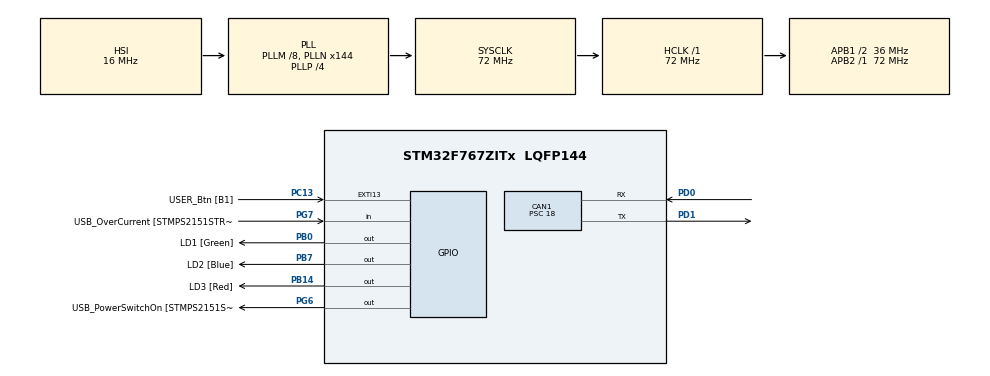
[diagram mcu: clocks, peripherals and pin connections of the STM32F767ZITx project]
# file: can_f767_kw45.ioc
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CAN1.BS1=CAN_BS1_2TQ
CAN1.CalculateBaudRate=500000
CAN1.CalculateTimeBit=2000
CAN1.CalculateTimeQuantum=500.0
CAN1.Prescaler=18
Mcu.Family=STM32F7
Mcu.Name=STM32F767ZITx
Mcu.Package=LQFP144
NVIC.CAN1_RX0_IRQn=true\:0\:0\:false\:false\:true\:true\:true\:true
NVIC.PriorityGroup=NVIC_PRIORITYGROUP_4
PA1.GPIO_Label=RMII_REF_CLK [LAN8742A-CZ-TR_REFCLK0]
PA1.Signal=ETH_REF_CLK
PA10.GPIO_Label=USB_ID
PA10.Signal=USB_OTG_FS_ID
PA11.GPIO_Label=USB_DM
PA11.Signal=USB_OTG_FS_DM
PA12.GPIO_Label=USB_DP
PA12.Signal=USB_OTG_FS_DP
PA13.GPIO_Label=TMS
PA13.Signal=SYS_JTMS-SWDIO
PA14.GPIO_Label=TCK
PA14.Signal=SYS_JTCK-SWCLK
PA2.GPIO_Label=RMII_MDIO [LAN8742A-CZ-TR_MDIO]
PA2.Signal=ETH_MDIO
PA7.GPIO_Label=RMII_CRS_DV [LAN8742A-CZ-TR_CRS_DV]
PA7.Signal=ETH_CRS_DV
PA8.GPIO_Label=USB_SOF [TP1]
PA8.Signal=USB_OTG_FS_SOF
PA9.GPIO_Label=USB_VBUS
PA9.Signal=USB_OTG_FS_VBUS
PB0.GPIO_Label=LD1 [Green]
PB0.Signal=GPIO_Output
PB13.GPIO_Label=RMII_TXD1 [LAN8742A-CZ-TR_TXD1]
PB13.Signal=ETH_TXD1
PB14.GPIO_Label=LD3 [Red]
PB14.Signal=GPIO_Output
PB3.GPIO_Label=SW0
PB3.Signal=SYS_JTDO-SWO
PB7.GPIO_Label=LD2 [Blue]
PB7.Signal=GPIO_Output
PC1.GPIO_Label=RMII_MDC [LAN8742A-CZ-TR_MDC]
PC1.Signal=ETH_MDC
PC13.GPIO_Label=USER_Btn [B1]
PC13.Signal=GPXTI13
PC14/OSC32_IN.Signal=RCC_OSC32_IN
PC15/OSC32_OUT.Signal=RCC_OSC32_OUT
PC4.GPIO_Label=RMII_RXD0 [LAN8742A-CZ-TR_RXD0]
PC4.Signal=ETH_RXD0
PC5.GPIO_Label=RMII_RXD1 [LAN8742A-CZ-TR_RXD1]
PC5.Signal=ETH_RXD1
PD0.Mode=CAN_Activate
PD0.Signal=CAN1_RX
PD1.Mode=CAN_Activate
PD1.Signal=CAN1_TX
PD8.GPIO_Label=STLK_RX [STM32F103CBT6_PA3]
PD8.Signal=USART3_TX
PD9.GPIO_Label=STLK_TX [STM32F103CBT6_PA2]
PD9.Signal=USART3_RX
PG11.GPIO_Label=RMII_TX_EN [LAN8742A-CZ-TR_TXEN]
PG11.Signal=ETH_TX_EN
PG13.GPIO_Label=RMII_TXD0 [LAN8742A-CZ-TR_TXD0]
PG13.Signal=ETH_TXD0
PG6.GPIO_Label=USB_PowerSwitchOn [STMPS2151STR_EN]
PG6.Signal=GPIO_Output
PG7.GPIO_Label=USB_OverCurrent [STMPS2151STR_FAULT]
PG7.Signal=GPIO_Input
PH0/OSC_IN.GPIO_Label=MCO [STM32F103CBT6_PA8]
PH0/OSC_IN.Mode=HSE-External-Oscillator
PH0/OSC_IN.Signal=RCC_OSC_IN
PH1/OSC_OUT.Mode=HSE-External-Oscillator
PH1/OSC_OUT.Signal=RCC_OSC_OUT
ProjectManager.HeapSize=0x200
ProjectManager.StackSize=0x400
ProjectManager.TargetToolchain=STM32CubeIDE
RCC.48MHZClocksFreq_Value=24000000
RCC.AHBFreq_Value=72000000
RCC.APB1CLKDivider=RCC_HCLK_DIV2
RCC.APB1Freq_Value=36000000
RCC.APB1TimFreq_Value=72000000
RCC.APB2Freq_Value=72000000
RCC.APB2TimFreq_Value=72000000
RCC.CortexFreq_Value=72000000
RCC.HCLKFreq_Value=72000000
RCC.HSE_VALUE=16000000
RCC.HSI_VALUE=16000000
RCC.LSE_VALUE=32768
RCC.PLLM=8
RCC.PLLMUL=RCC_PLL_MUL9
RCC.PLLN=144
RCC.PLLP=RCC_PLLP_DIV4
RCC.PRESCALERUSB=RCC_USBCLKSOURCE_PLL_DIV1_5
RCC.SYSCLKFreq_VALUE=72000000
RCC.SYSCLKSource=RCC_SYSCLKSOURCE_PLLCLK
RCC.SYSCLKSourceVirtual=RCC_SYSCLKSOURCE_PLLCLK
RCC.USBFreq_Value=144000000
RCC.VCOOutputFreq_Value=288000000
board=NUCLEO-F767ZI

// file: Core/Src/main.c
/* USER CODE BEGIN Header */
/**
  ******************************************************************************
  * @file           : main.c
  * @brief          : Main program body
  ******************************************************************************
  * @attention
  *
  * Copyright (c) 2024 STMicroelectronics.
  * All rights reserved.
  *
  * This software is licensed under terms that can be found in the LICENSE file
  * in the root directory of this software component.
  * If no LICENSE file comes with this software, it is provided AS-IS.
  *
  ******************************************************************************
  */
/* USER CODE END Header */
#include "main.h"

CAN_HandleTypeDef hcan1;

void SystemClock_Config(void);
static void MX_GPIO_Init(void);
static void MX_CAN1_Init(void);

/* USER CODE BEGIN 0 */
CAN_TxHeaderTypeDef TxHeader;
CAN_RxHeaderTypeDef RxHeader;

uint8_t TxData[8];
uint8_t RxData[8];

uint32_t TxMailbox;
int16_t irq_cooldown = 0;

int reply_received = 0;

void HAL_GPIO_EXTI_Callback(uint16_t GPIO_Pin) {

	if (GPIO_Pin == GPIO_PIN_13 && irq_cooldown == 0){
		//TxData[0] = 100;   // ms Delay
		//TxData[1] = 10;    // loop rep

		//TxData[0] = 0b0000100;
		//TxData[1] = 0b0000100;
		HAL_GPIO_TogglePin(GPIOB, GPIO_PIN_14);
		HAL_CAN_AddTxMessage(&hcan1, &TxHeader, TxData, &TxMailbox);
		irq_cooldown = 20000;
	}
}

void HAL_CAN_RxFifo0MsgPendingCallback(CAN_HandleTypeDef *hcan)
{
	HAL_CAN_GetRxMessage(hcan, CAN_RX_FIFO0, &RxHeader, RxData);
	if (RxHeader.DLC == 2)
	{
		reply_received = 1;
		HAL_GPIO_TogglePin(GPIOB, GPIO_PIN_0);

	}

	//HAL_CAN_AddTxMessage(&hcan1, &TxHeader, TxData, &TxMailbox);
}

/* USER CODE END 0 */

int main(void)
{

  /* MCU Configuration--------------------------------------------------------*/

  /* Reset of all peripherals, Initializes the Flash interface and the Systick. */
  HAL_Init();

  /* Configure the system clock */
  SystemClock_Config();

  /* Initialize all configured peripherals */
  MX_GPIO_Init();
  MX_CAN1_Init();
  /* USER CODE BEGIN 2 */

  HAL_CAN_Start(&hcan1);
  HAL_CAN_ActivateNotification(&hcan1, CAN_IT_RX_FIFO0_MSG_PENDING);

  TxHeader.DLC = 2;  // data length
  TxHeader.IDE = CAN_ID_STD;
  TxHeader.RTR = CAN_RTR_DATA;
  TxHeader.StdId = 0x321;  // ID

  TxData[0] = 100;
  TxData[1] = 3;

  /* USER CODE END 2 */

  /* Infinite loop */
  /* USER CODE BEGIN WHILE */
  while (1)
  {
	if (irq_cooldown > 0){
		irq_cooldown -= 1;
	}

	HAL_Delay(3000);
	HAL_GPIO_WritePin(GPIOB, GPIO_PIN_14, GPIO_PIN_SET);
	HAL_CAN_AddTxMessage(&hcan1, &TxHeader, TxData, &TxMailbox);
	HAL_Delay(50);
	HAL_GPIO_WritePin(GPIOB, GPIO_PIN_14, GPIO_PIN_RESET);

    /* USER CODE END WHILE */

  }
}

void SystemClock_Config(void)
{
  RCC_OscInitTypeDef RCC_OscInitStruct = {0};
  RCC_ClkInitTypeDef RCC_ClkInitStruct = {0};

  /** Configure the main internal regulator output voltage
  */
  __HAL_RCC_PWR_CLK_ENABLE();
  __HAL_PWR_VOLTAGESCALING_CONFIG(PWR_REGULATOR_VOLTAGE_SCALE3);

  /** Initializes the RCC Oscillators according to the specified parameters
  * in the RCC_OscInitTypeDef structure.
  */
  RCC_OscInitStruct.OscillatorType = RCC_OSCILLATORTYPE_HSI;
  RCC_OscInitStruct.HSIState = RCC_HSI_ON;
  RCC_OscInitStruct.HSICalibrationValue = RCC_HSICALIBRATION_DEFAULT;
  RCC_OscInitStruct.PLL.PLLState = RCC_PLL_ON;
  RCC_OscInitStruct.PLL.PLLSource = RCC_PLLSOURCE_HSI;
  RCC_OscInitStruct.PLL.PLLM = 8;
  RCC_OscInitStruct.PLL.PLLN = 144;
  RCC_OscInitStruct.PLL.PLLP = RCC_PLLP_DIV4;
  RCC_OscInitStruct.PLL.PLLQ = 2;
  RCC_OscInitStruct.PLL.PLLR = 2;
  if (HAL_RCC_OscConfig(&RCC_OscInitStruct) != HAL_OK)
  {
    Error_Handler();
  }

  /** Initializes the CPU, AHB and APB buses clocks
  */
  RCC_ClkInitStruct.ClockType = RCC_CLOCKTYPE_HCLK|RCC_CLOCKTYPE_SYSCLK
                              |RCC_CLOCKTYPE_PCLK1|RCC_CLOCKTYPE_PCLK2;
  RCC_ClkInitStruct.SYSCLKSource = RCC_SYSCLKSOURCE_PLLCLK;
  RCC_ClkInitStruct.AHBCLKDivider = RCC_SYSCLK_DIV1;
  RCC_ClkInitStruct.APB1CLKDivider = RCC_HCLK_DIV2;
  RCC_ClkInitStruct.APB2CLKDivider = RCC_HCLK_DIV1;

  if (HAL_RCC_ClockConfig(&RCC_ClkInitStruct, FLASH_LATENCY_2) != HAL_OK)
  {
    Error_Handler();
  }
}

static void MX_CAN1_Init(void)
{

  hcan1.Instance = CAN1;
  hcan1.Init.Prescaler = 18;
  hcan1.Init.Mode = CAN_MODE_NORMAL;
  hcan1.Init.SyncJumpWidth = CAN_SJW_1TQ;
  hcan1.Init.TimeSeg1 = CAN_BS1_2TQ;
  hcan1.Init.TimeSeg2 = CAN_BS2_1TQ;
  hcan1.Init.TimeTriggeredMode = DISABLE;
  hcan1.Init.AutoBusOff = DISABLE;
  hcan1.Init.AutoWakeUp = DISABLE;
  hcan1.Init.AutoRetransmission = DISABLE;
  hcan1.Init.ReceiveFifoLocked = DISABLE;
  hcan1.Init.TransmitFifoPriority = DISABLE;
  if (HAL_CAN_Init(&hcan1) != HAL_OK)
  {
    Error_Handler();
  }
  /* USER CODE BEGIN CAN1_Init 2 */
  CAN_FilterTypeDef canfilterconfig;
  canfilterconfig.FilterActivation = CAN_FILTER_ENABLE;
  canfilterconfig.FilterBank = 18;  // which filter bank to use from the assigned ones
  canfilterconfig.FilterFIFOAssignment = CAN_FILTER_FIFO0;
  canfilterconfig.FilterIdHigh = 0x45<<5;
  canfilterconfig.FilterIdLow = 0;
  canfilterconfig.FilterMaskIdHigh = 0x45<<5;
  canfilterconfig.FilterMaskIdLow = 0x0000;
  canfilterconfig.FilterMode = CAN_FILTERMODE_IDMASK;
  canfilterconfig.FilterScale = CAN_FILTERSCALE_32BIT;
  canfilterconfig.SlaveStartFilterBank = 20;  // how many filters to assign to the CAN1 (master can)
  HAL_CAN_ConfigFilter(&hcan1, &canfilterconfig);

  CAN_FilterTypeDef canfilterconfig2;
  canfilterconfig2.FilterActivation = CAN_FILTER_ENABLE;
  canfilterconfig2.FilterBank = 19;  // which filter bank to use from the assigned ones
  canfilterconfig2.FilterFIFOAssignment = CAN_FILTER_FIFO0;
  canfilterconfig2.FilterIdHigh = 0x103<<5;
  canfilterconfig2.FilterIdLow = 0;
  canfilterconfig2.FilterMaskIdHigh = 0x103<<5;
  canfilterconfig2.FilterMaskIdLow = 0x0000;
  canfilterconfig2.FilterMode = CAN_FILTERMODE_IDMASK;
  canfilterconfig2.FilterScale = CAN_FILTERSCALE_32BIT;
  canfilterconfig2.SlaveStartFilterBank = 20;  // how many filters to assign to the CAN1 (master can)
  HAL_CAN_ConfigFilter(&hcan1, &canfilterconfig2);

  /* USER CODE END CAN1_Init 2 */

}

static void MX_GPIO_Init(void)
{
  GPIO_InitTypeDef GPIO_InitStruct = {0};

  /* GPIO Ports Clock Enable */
  __HAL_RCC_GPIOC_CLK_ENABLE();
  __HAL_RCC_GPIOH_CLK_ENABLE();
  __HAL_RCC_GPIOA_CLK_ENABLE();
  __HAL_RCC_GPIOB_CLK_ENABLE();
  __HAL_RCC_GPIOD_CLK_ENABLE();
  __HAL_RCC_GPIOG_CLK_ENABLE();

  /*Configure GPIO pin Output Level */
  HAL_GPIO_WritePin(GPIOB, LD1_Pin|LD3_Pin|LD2_Pin, GPIO_PIN_RESET);

  /*Configure GPIO pin Output Level */
  HAL_GPIO_WritePin(USB_PowerSwitchOn_GPIO_Port, USB_PowerSwitchOn_Pin, GPIO_PIN_RESET);

  /*Configure GPIO pin : USER_Btn_Pin */
  GPIO_InitStruct.Pin = USER_Btn_Pin;
  GPIO_InitStruct.Mode = GPIO_MODE_IT_RISING;
  GPIO_InitStruct.Pull = GPIO_NOPULL;
  HAL_GPIO_Init(USER_Btn_GPIO_Port, &GPIO_InitStruct);

  /*Configure GPIO pins : RMII_MDC_Pin RMII_RXD0_Pin RMII_RXD1_Pin */
  GPIO_InitStruct.Pin = RMII_MDC_Pin|RMII_RXD0_Pin|RMII_RXD1_Pin;
  GPIO_InitStruct.Mode = GPIO_MODE_AF_PP;
  GPIO_InitStruct.Pull = GPIO_NOPULL;
  GPIO_InitStruct.Speed = GPIO_SPEED_FREQ_VERY_HIGH;
  GPIO_InitStruct.Alternate = GPIO_AF11_ETH;
  HAL_GPIO_Init(GPIOC, &GPIO_InitStruct);

  /*Configure GPIO pins : RMII_REF_CLK_Pin RMII_MDIO_Pin RMII_CRS_DV_Pin */
  GPIO_InitStruct.Pin = RMII_REF_CLK_Pin|RMII_MDIO_Pin|RMII_CRS_DV_Pin;
  GPIO_InitStruct.Mode = GPIO_MODE_AF_PP;
  GPIO_InitStruct.Pull = GPIO_NOPULL;
  GPIO_InitStruct.Speed = GPIO_SPEED_FREQ_VERY_HIGH;
  GPIO_InitStruct.Alternate = GPIO_AF11_ETH;
  HAL_GPIO_Init(GPIOA, &GPIO_InitStruct);

  /*Configure GPIO pins : LD1_Pin LD3_Pin LD2_Pin */
  GPIO_InitStruct.Pin = LD1_Pin|LD3_Pin|LD2_Pin;
  GPIO_InitStruct.Mode = GPIO_MODE_OUTPUT_PP;
  GPIO_InitStruct.Pull = GPIO_NOPULL;
  GPIO_InitStruct.Speed = GPIO_SPEED_FREQ_LOW;
  HAL_GPIO_Init(GPIOB, &GPIO_InitStruct);

  /*Configure GPIO pin : RMII_TXD1_Pin */
  GPIO_InitStruct.Pin = RMII_TXD1_Pin;
  GPIO_InitStruct.Mode = GPIO_MODE_AF_PP;
  GPIO_InitStruct.Pull = GPIO_NOPULL;
  GPIO_InitStruct.Speed = GPIO_SPEED_FREQ_VERY_HIGH;
  GPIO_InitStruct.Alternate = GPIO_AF11_ETH;
  HAL_GPIO_Init(RMII_TXD1_GPIO_Port, &GPIO_InitStruct);

  /*Configure GPIO pins : STLK_RX_Pin STLK_TX_Pin */
  GPIO_InitStruct.Pin = STLK_RX_Pin|STLK_TX_Pin;
  GPIO_InitStruct.Mode = GPIO_MODE_AF_PP;
  GPIO_InitStruct.Pull = GPIO_NOPULL;
  GPIO_InitStruct.Speed = GPIO_SPEED_FREQ_VERY_HIGH;
  GPIO_InitStruct.Alternate = GPIO_AF7_USART3;
  HAL_GPIO_Init(GPIOD, &GPIO_InitStruct);

  /*Configure GPIO pin : USB_PowerSwitchOn_Pin */
  GPIO_InitStruct.Pin = USB_PowerSwitchOn_Pin;
  GPIO_InitStruct.Mode = GPIO_MODE_OUTPUT_PP;
  GPIO_InitStruct.Pull = GPIO_NOPULL;
  GPIO_InitStruct.Speed = GPIO_SPEED_FREQ_LOW;
  HAL_GPIO_Init(USB_PowerSwitchOn_GPIO_Port, &GPIO_InitStruct);

  /*Configure GPIO pin : USB_OverCurrent_Pin */
  GPIO_InitStruct.Pin = USB_OverCurrent_Pin;
  GPIO_InitStruct.Mode = GPIO_MODE_INPUT;
  GPIO_InitStruct.Pull = GPIO_NOPULL;
  HAL_GPIO_Init(USB_OverCurrent_GPIO_Port, &GPIO_InitStruct);

  /*Configure GPIO pins : USB_SOF_Pin USB_ID_Pin USB_DM_Pin USB_DP_Pin */
  GPIO_InitStruct.Pin = USB_SOF_Pin|USB_ID_Pin|USB_DM_Pin|USB_DP_Pin;
  GPIO_InitStruct.Mode = GPIO_MODE_AF_PP;
  GPIO_InitStruct.Pull = GPIO_NOPULL;
  GPIO_InitStruct.Speed = GPIO_SPEED_FREQ_VERY_HIGH;
  GPIO_InitStruct.Alternate = GPIO_AF10_OTG_FS;
  HAL_GPIO_Init(GPIOA, &GPIO_InitStruct);

  /*Configure GPIO pin : USB_VBUS_Pin */
  GPIO_InitStruct.Pin = USB_VBUS_Pin;
  GPIO_InitStruct.Mode = GPIO_MODE_INPUT;
  GPIO_InitStruct.Pull = GPIO_NOPULL;
  HAL_GPIO_Init(USB_VBUS_GPIO_Port, &GPIO_InitStruct);

  /*Configure GPIO pins : RMII_TX_EN_Pin RMII_TXD0_Pin */
  GPIO_InitStruct.Pin = RMII_TX_EN_Pin|RMII_TXD0_Pin;
  GPIO_InitStruct.Mode = GPIO_MODE_AF_PP;
  GPIO_InitStruct.Pull = GPIO_NOPULL;
  GPIO_InitStruct.Speed = GPIO_SPEED_FREQ_VERY_HIGH;
  GPIO_InitStruct.Alternate = GPIO_AF11_ETH;
  HAL_GPIO_Init(GPIOG, &GPIO_InitStruct);

}

void Error_Handler(void)
{
  __disable_irq();
  while (1)
  {
  }
}
